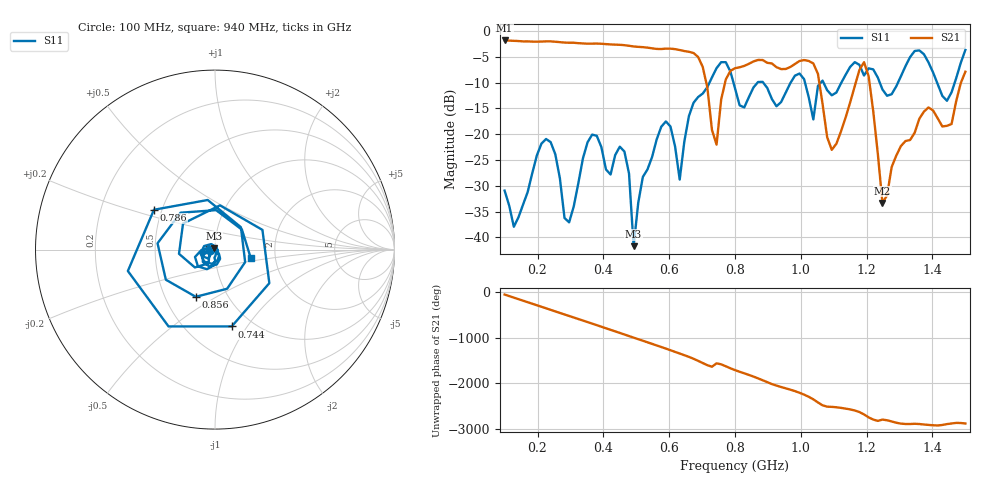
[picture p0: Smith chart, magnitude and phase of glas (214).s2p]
! NanoVNA-App
! Date: 2025-09-25 15:57:08
! Start: 100MHz Stop: 1,5GHz Points: 101
! S-Parameter data: F S11 S21 S12 S22
# Hz S RI R 50
!  Frequency  S11_Real  S11_Imag  S21_Real  S21_Imag  S12_Real  S12_Imag  S22_Real  S22_Imag
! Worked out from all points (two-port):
!   101 points, 100 MHz to 1.5 GHz, reference 50 ohm
!   highest |S21| = -1.80 dB at 100 MHz (marker M1); lowest = -33.3 dB at 1.248 GHz (marker M2)
!   |S21| within 3 dB of the highest: start of sweep to 684.2 MHz
!   lowest |S11| = -41.7 dB at 492 MHz (marker M3), VSWR 1.02, Z = 49.5 + j0.625 ohm
!   |S11| at or under -10 dB: start of sweep to 722.4 MHz; 795.4 MHz to 868.2 MHz (72.85 MHz wide, 8.76 % of centre); 885.9 MHz to 968.9 MHz (83.03 MHz wide, 8.95 % of centre) (the widest 3 of 7)
!   S12 and S22 are empty: the file has one direction only
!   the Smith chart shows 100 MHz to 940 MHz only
!   S11 on the Smith chart (normalised r, x): 100 MHz: 0.95, -0.01; 744 MHz: 0.80, -0.85; 786 MHz: 0.45, +0.24; 856 MHz: 0.71, -0.41; 940 MHz: 1.49, -0.15
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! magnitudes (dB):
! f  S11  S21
! 100 MHz  -30.9  -1.8
! 128 MHz  -38.0  -1.9
! 226 MHz  -20.9  -2.0
! 296 MHz  -37.1  -2.2
! 338 MHz  -24.7  -2.4
! 464 MHz  -23.4  -2.7
! 492 MHz  -41.7  -3.0
! 576 MHz  -18.5  -3.5
! 632 MHz  -28.8  -3.7
! 702 MHz  -12.1  -6.9
! 744 MHz  -7.2  -22.0
! 786 MHz  -7.8  -7.7
! 800 MHz  -11.1  -7.2
! 856 MHz  -10.9  -5.9
! 940 MHz  -13.8  -7.4
! 1.038 GHz  -17.1  -6.3
! 1.094 GHz  -12.5  -23.0
! 1.192 GHz  -8.6  -6.0
! 1.248 GHz  -11.3  -33.3
! 1.276 GHz  -12.2  -26.4
! 1.444 GHz  -13.5  -18.4
! 1.5 GHz  -3.6  -7.9
